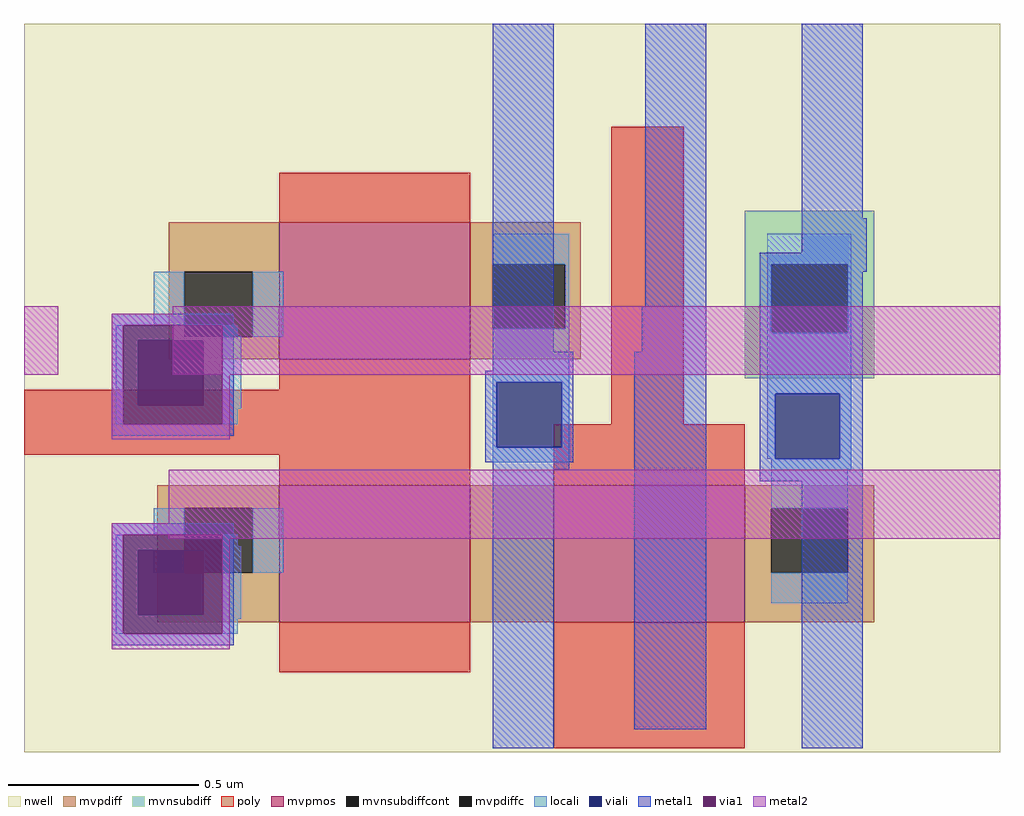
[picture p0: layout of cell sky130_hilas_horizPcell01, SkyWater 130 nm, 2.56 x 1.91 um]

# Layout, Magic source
magic
tech sky130A
<< nwell >>
rect 0 0 256 191
<< mvpmos >>
rect 67 103 117 139
rect 67 34 117 70
rect 139 34 189 70
<< mvpdiff >>
rect 38 126 67 139
rect 38 109 42 126
rect 60 109 67 126
rect 38 103 67 109
rect 117 128 146 139
rect 117 111 123 128
rect 142 111 146 128
rect 117 103 146 111
rect 35 64 67 70
rect 35 47 42 64
rect 60 47 67 64
rect 35 34 67 47
rect 117 34 139 70
rect 189 64 223 70
rect 189 47 196 64
rect 216 47 223 64
rect 189 34 223 47
<< mvpdiffc >>
rect 42 109 60 126
rect 123 111 142 128
rect 42 47 60 64
rect 196 47 216 64
<< mvnsubdiff >>
rect 189 128 223 142
rect 189 110 196 128
rect 216 110 223 128
rect 189 98 223 110
<< mvnsubdiffcont >>
rect 196 110 216 128
<< poly >>
rect 67 139 117 152
rect 67 95 117 103
rect 0 78 117 95
rect 154 86 173 164
rect 67 70 117 78
rect 139 70 189 86
rect 67 21 117 34
rect 139 1 189 34
<< locali >>
rect 123 128 143 136
rect 34 109 42 126
rect 60 109 68 126
rect 142 111 143 128
rect 123 97 143 111
rect 123 80 124 97
rect 141 80 143 97
rect 123 76 143 80
rect 195 128 217 136
rect 195 110 196 128
rect 216 110 217 128
rect 195 94 217 110
rect 195 77 197 94
rect 214 77 217 94
rect 196 74 217 77
rect 196 64 216 74
rect 34 47 42 64
rect 60 47 68 64
rect 196 39 216 47
<< viali >>
rect 124 80 141 97
rect 197 77 214 94
<< metal1 >>
rect 123 105 139 191
rect 163 117 179 191
rect 204 140 220 191
rect 204 131 221 140
rect 162 105 179 117
rect 123 100 144 105
rect 121 97 144 100
rect 121 80 124 97
rect 141 80 144 97
rect 121 76 144 80
rect 123 74 143 76
rect 123 1 139 74
rect 160 6 179 105
rect 193 126 221 131
rect 193 94 220 126
rect 193 77 197 94
rect 214 77 220 94
rect 193 71 220 77
rect 204 1 220 71
<< metal2 >>
rect 0 99 9 117
rect 39 99 256 117
rect 38 56 256 74
use sky130_hilas_li2m2  sky130_hilas_li2m2_0
transform 1 0 23 0 -1 60
box 0 0 34 33
use sky130_hilas_li2m2  sky130_hilas_li2m2_1
transform 1 0 23 0 -1 115
box 0 0 34 33
<< properties >>
string LEFsite unithd
string LEFclass CORE
string LEFsymmetry X Y R90
<< end >>

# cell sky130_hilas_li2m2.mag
magic
tech sky130A
<< locali >>
rect 1 25 33 29
rect 1 24 34 25
rect 1 7 7 24
rect 24 7 34 24
rect 1 6 34 7
rect 1 3 33 6
<< viali >>
rect 7 7 24 24
<< metal1 >>
rect 0 29 32 32
rect 0 3 3 29
rect 29 3 32 29
rect 0 0 32 3
<< via1 >>
rect 3 24 29 29
rect 3 7 7 24
rect 7 7 24 24
rect 24 7 29 24
rect 3 3 29 7
<< metal2 >>
rect 0 29 31 33
rect 0 3 3 29
rect 29 3 31 29
rect 0 0 31 3
<< properties >>
string LEFsite unithd
string LEFclass CORE
string LEFsymmetry X Y R90
<< end >>
